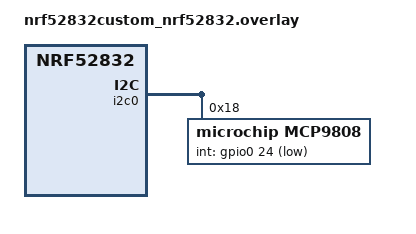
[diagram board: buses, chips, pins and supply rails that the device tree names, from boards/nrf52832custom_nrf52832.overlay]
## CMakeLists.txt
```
# SPDX-License-Identifier: Apache-2.0

cmake_minimum_required(VERSION 3.13.1)

add_compile_options (-Werror -fdiagnostics-color=always)

list(APPEND BOARD_ROOT $ENV{ZEPHYR_BASE}/../custom)

find_package(Zephyr REQUIRED HINTS $ENV{ZEPHYR_BASE})
project(beacon)

target_sources(app PRIVATE src/main.c src/temp_sensor_mcp9808.c src/voltage_sensor.c)
```

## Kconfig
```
mainmenu "BLETempSensor Configuration"

config APP_SAMPLE_RATE
	int "Sample rate for the thermometer and voltage"
	default 10000

source "Kconfig.zephyr"
```

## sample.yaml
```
sample:
  name: Bluetooth Beacon
tests:
  sample.bluetooth.beacon:
    harness: bluetooth
    platform_allow: nrf52840dk_nrf52840
    tags: bluetooth
```

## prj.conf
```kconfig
CONFIG_BT=y
# CONFIG_BT_DEBUG_GATT=y
# CONFIG_BT_DEBUG_LOG=y
CONFIG_BT_DEVICE_NAME="BLETempSensor"
# CONFIG_BT_DEVICE_NAME_DYNAMIC=y
# CONFIG_BT_ATT_PREPARE_COUNT=2

CONFIG_I2C=y

CONFIG_SENSOR=y
CONFIG_MCP9808=y
CONFIG_MCP9808_FETCH_DELAY=100

CONFIG_ADC=y

CONFIG_SYS_POWER_MANAGEMENT=y
CONFIG_DEVICE_POWER_MANAGEMENT=y
CONFIG_DEVICE_IDLE_PM=y
CONFIG_SYS_PM_STATE_LOCK=y
# CONFIG_SYS_POWER_DEEP_SLEEP_STATES=y

CONFIG_APP_SAMPLE_RATE=10000
```

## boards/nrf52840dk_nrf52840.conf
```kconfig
CONFIG_DEBUG=y
CONFIG_LOG=y
# CONFIG_BT_DEBUG_GATT=y
# CONFIG_BT_DEBUG_LOG=y

CONFIG_APP_SAMPLE_RATE=500
```

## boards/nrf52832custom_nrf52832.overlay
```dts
/*
 * Copyright (c) 2019, Linaro Ltd.
 *
 * SPDX-License-Identifier: Apache-2.0
 */

&i2c0 {
	mcp9808@18 {
		compatible = "microchip,mcp9808";
		reg = <0x18>;
		int-gpios = <&gpio0 24 (GPIO_PULL_UP | GPIO_ACTIVE_LOW)>;
		label = "MCP9808";
	};
};
```

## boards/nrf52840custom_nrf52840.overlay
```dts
/*
 * Copyright (c) 2019, Linaro Ltd.
 *
 * SPDX-License-Identifier: Apache-2.0
 */

&i2c0 {
	mcp9808@18 {
		compatible = "microchip,mcp9808";
		reg = <0x18>;
		label = "MCP9808";
	};
};
```

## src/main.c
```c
/* main.c - Application main entry point */

/*
 * Copyright (c) 2015-2016 Intel Corporation
 *
 * SPDX-License-Identifier: Apache-2.0
 */

#include <bluetooth/bluetooth.h>
#include <bluetooth/hci.h>
#include <drivers/adc.h>
#include <logging/log.h>
#include <stddef.h>
#include <sys/util.h>
#include <zephyr/types.h>

#include "temp_sensor.h"
#include "voltage_sensor.h"

#define DEVICE_NAME CONFIG_BT_DEVICE_NAME
#define DEVICE_NAME_LEN (sizeof(DEVICE_NAME) - 1)

#define ADV_INTERVAL_MIN 5000 * 0.625
#define ADV_INTERVAL_MAX 5200 * 0.625

#define DATA_VERSION 0x01
#define NO_READING SHRT_MIN

LOG_MODULE_REGISTER(main);

struct manuf_data_t {
  uint16_t id;
  int16_t temperature;
  int16_t voltage;
  uint8_t version;
  uint8_t counter;
};

static struct manuf_data_t manuf_data = {
    .id = 0xFFFF,               //
    .temperature = NO_READING,  //
    .voltage = NO_READING,      //
    .version = DATA_VERSION,    //
};

static const struct bt_data ad[] = {
    BT_DATA_BYTES(BT_DATA_FLAGS, BT_LE_AD_NO_BREDR),
};

// Set Scan Response data
static const struct bt_data sd[] = {
    BT_DATA(BT_DATA_NAME_COMPLETE, DEVICE_NAME, DEVICE_NAME_LEN),
    BT_DATA(BT_DATA_MANUFACTURER_DATA, &manuf_data, sizeof(manuf_data)),
};

int init_bluetooth() {
  int err = bt_enable(NULL);
  if (err) {
    LOG_ERR("Bluetooth init failed (err %d)", err);
    return -1;
  }

  LOG_INF("Bluetooth initialized");

  /* Start advertising */
  err = bt_le_adv_start(BT_LE_ADV_PARAM(BT_LE_ADV_OPT_USE_IDENTITY,  //
                                        ADV_INTERVAL_MIN,            //
                                        ADV_INTERVAL_MAX, NULL),     //
                        ad, ARRAY_SIZE(ad),                          //
                        sd, ARRAY_SIZE(sd));                         //
  if (err) {
    LOG_ERR("Advertising failed to start (err %d)\n", err);
    return -1;
  }
  LOG_INF("Bluetooth advertising...");

  return 0;
}

void main(void) {
  LOG_INF("Starting BLETempSensor");

  /* Initialize the Bluetooth Subsystem */
  int err = init_bluetooth();
  if (err) {
    LOG_ERR("Bluetooth failed to start (err %d)\n", err);
    k_panic();
  }

  err = temp_sensor_init();
  if (err) {
    LOG_ERR("Error initializing temp sensor.");
  }

  err = volt_sensor_init();
  if (err) {
    LOG_ERR("Error initializing voltage sensor.");
  }

  uint8_t counter = 0;

  while (true) {
    int16_t temperaure = NO_READING;
    err = temp_sensor_read(&temperaure);
    if (err) {
      LOG_WRN("Error reading temperature");
    }

    int16_t voltage = NO_READING;
    err = volt_sensor_read(&voltage);
    if (err) {
      LOG_WRN("Error reading voltage");
    }

    manuf_data.temperature = temperaure;
    manuf_data.voltage = voltage;
    manuf_data.counter = counter++;
    err = bt_le_adv_update_data(ad, ARRAY_SIZE(ad), sd, ARRAY_SIZE(sd));
    if (err) {
      LOG_ERR("Advertising failed to update (err %d)", err);
    }

    k_sleep(K_MSEC(CONFIG_APP_SAMPLE_RATE));
  }
}
```

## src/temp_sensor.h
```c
#pragma once

#include <stdint.h>

int temp_sensor_init();

int temp_sensor_read(int16_t *value);
```

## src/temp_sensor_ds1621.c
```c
#include <drivers/i2c.h>
#include <logging/log.h>

#include "temp_sensor.h"

#define DS1621_ADDRESS 0x48

#define I2C_LABEL DT_LABEL(DT_NODELABEL(i2c0))

LOG_MODULE_REGISTER(temp_sensor_init);

const struct device *i2c_dev;

int temp_sensor_init() {
  i2c_dev = device_get_binding(I2C_LABEL);
  if (!i2c_dev) {
    LOG_ERR("I2C Device not found");
    return -1;
  }

  const uint32_t i2c_cfg = I2C_SPEED_SET(I2C_SPEED_STANDARD) | I2C_MODE_MASTER;
  if (i2c_configure(i2c_dev, i2c_cfg)) {
    LOG_ERR("I2C config failed");
    return -1;
  }

  uint8_t data[] = {0xAC, 0x01};  // Sets to ONE-SHOT
  if (i2c_write(i2c_dev, data, sizeof(data), DS1621_ADDRESS)) {
    LOG_ERR("I2C write config failed");
    return -1;
  }

  // Prints the stored config
  // uint8_t d1 = 0xAC, d2 = 0;
  // if (i2c_write_read(i2c_dev, DS1621_ADDRESS, &d1, sizeof(d1), &d2, sizeof(d2))) {
  //   LOG_ERR("I2C write read failed");
  //   return;
  // }
  // LOG_INF("I2C Config: %x", d2);
  return 0;
}

int temp_sensor_read(int16_t *value) {
  uint8_t data1 = 0xEE;
  if (i2c_write(i2c_dev, &data1, sizeof(data1), DS1621_ADDRESS)) {
    LOG_ERR("I2C write failed");
    return -1;
  }
  k_sleep(K_MSEC(2000));

  data1 = 0xAA;
  uint8_t reading[2];
  if (i2c_write_read(i2c_dev, DS1621_ADDRESS, &data1, sizeof(data1), reading, sizeof(reading))) {
    LOG_ERR("I2C write read failed");
    return -1;
  }

  *value = reading[0] * 1000 + (reading[1] ? 500 : 0);
  LOG_INF("Temperature: %d, reading: (%x,%x)", *value, reading[0], reading[1]);

  return 0;
}
```

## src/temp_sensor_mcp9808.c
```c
#include <drivers/sensor.h>
#include <logging/log.h>

#include "temp_sensor.h"

#define MCP9808 DT_LABEL(DT_INST(0, microchip_mcp9808))

LOG_MODULE_REGISTER(temp_sensor);

static const struct device *dev;

int temp_sensor_init() {
  dev = device_get_binding(MCP9808);

  if (dev == NULL) {
    LOG_ERR("Device %s not found.\n", MCP9808);
    return -1;
  }

  return 0;
}

int temp_sensor_read(int16_t *value) {
  int rc;

  rc = sensor_sample_fetch(dev);
  if (rc != 0) {
    LOG_ERR("sensor_sample_fetch error: %d", rc);
    return rc;
  }

  struct sensor_value temp;
  rc = sensor_channel_get(dev, SENSOR_CHAN_AMBIENT_TEMP, &temp);
  if (rc != 0) {
    LOG_ERR("sensor_channel_get error: %d", rc);
    return rc;
  }

  *value = sensor_value_to_double(&temp) * 100.0;
  LOG_INF("Temperature: %d", *value);
  return 0;
}
```

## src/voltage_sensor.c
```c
#include <drivers/adc.h>
#include <logging/log.h>

LOG_MODULE_REGISTER(volt_sensor);

#define ADC_LABEL DT_LABEL(DT_NODELABEL(adc))

static const struct device *adc;

static bool calibrate = true;

int volt_sensor_init() {
  adc = device_get_binding(ADC_LABEL);
  if (adc == NULL) {
    LOG_ERR("Device %s not found.", ADC_LABEL);
    return -1;
  }

  struct adc_channel_cfg adc_config = {
      .gain = ADC_GAIN_1_6,
      .reference = ADC_REF_INTERNAL,
      .acquisition_time = ADC_ACQ_TIME(ADC_ACQ_TIME_MICROSECONDS, 40),
      .input_positive = SAADC_CH_PSELP_PSELP_VDD,
  };

  int err = adc_channel_setup(adc, &adc_config);
  if (err) {
    LOG_ERR("Error setting up ADC (%d)", err);
    return err;
  }

  return 0;
}

int volt_sensor_read(int16_t *value) {
  uint16_t adc_buffer;

  struct adc_sequence seq = {
      .channels = BIT(0),
      .buffer = &adc_buffer,
      .buffer_size = sizeof(adc_buffer),
      .calibrate = calibrate,
      .oversampling = 4,
      .resolution = 14,
  };
  int err = adc_read(adc, &seq);
  if (err) {
    LOG_ERR("Error reading ADC (%d)", err);
    return err;
  }
  calibrate = false;

  int32_t voltage = adc_buffer;
  adc_raw_to_millivolts(adc_ref_internal(adc), ADC_GAIN_1_6, 14, &voltage);

  *value = voltage;

  LOG_INF("Voltage %d (raw: %d, reference: %d)", *value, adc_buffer, adc_ref_internal(adc));
  return 0;
}
```

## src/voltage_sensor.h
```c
#pragma once

#include <stdint.h>

int volt_sensor_init();

int volt_sensor_read(int16_t *value);
```
